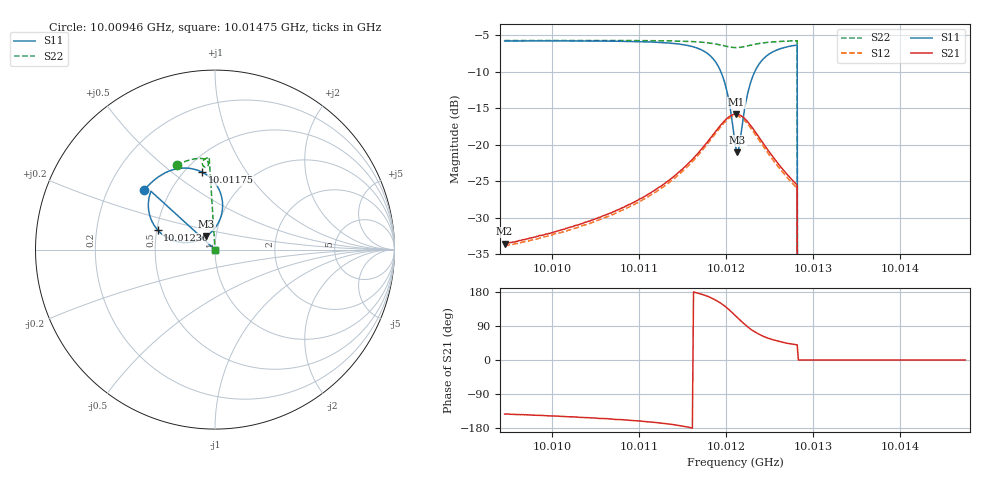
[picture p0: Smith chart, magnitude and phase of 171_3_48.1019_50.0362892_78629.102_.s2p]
#  HZ  S  RI  R  50.00
! Rohde & Schwarz Vector Network Analyzer
! Rohde-Schwarz,ZNB20-2Port,1311601062101988,3.16
! Created: UTC 12/23/2023, 3:51:46 AM
! freq[Hz]  re:S11  im:S11  re:S21  im:S21  re:S12  im:S12  re:S22  im:S22
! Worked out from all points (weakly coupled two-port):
!   401 points, 10.00946 GHz to 10.01475 GHz, reference 50 ohm
!   highest |S21| = -15.80 dB at 10.01212 GHz (marker M1); lowest = -33.6 dB at 10.00946 GHz (marker M2)
!   lowest |S11| = -21.0 dB at 10.01213 GHz (marker M3), VSWR 1.19, Z = 44.9 + j6.75 ohm
!   |S11| at or under -10 dB: 10.01194 GHz to 10.01233 GHz (388.5 kHz wide, 0.00388 % of centre); 10.01282 GHz to end of sweep
!   |S22| runs from - to -5.7 dB; largest |S21 - S12| = 0.0084
!   S11 on the Smith chart (normalised r, x): 10.00946 GHz: 0.36, +0.32; 10.01175 GHz: 0.60, +0.65; 10.01236 GHz: 0.50, +0.13; 10.01475 GHz: 1.00, +0.00
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1.0009459e10  -0.3932 0.3323  -0.0167 -0.0126  -0.0153 -0.0131  -0.2139 0.4715
1.0010345e10  -0.3384 0.3876  -0.0253 -0.0137  -0.0237 -0.0145  -0.1591 0.4937
1.0010835e10  -0.2937 0.419  -0.0347 -0.0141  -0.0328 -0.0152  -0.1261 0.5028
1.0011231e10  -0.2374 0.4439  -0.0495 -0.0125  -0.0469 -0.0144  -0.0968 0.5076
1.0011522e10  -0.1671 0.4544  -0.0697 -0.0056  -0.0669 -0.00917  -0.0724 0.5075
1.0011747e10  -0.0734 0.432  -0.0963 0.0141  -0.094 0.00858  -0.0509 0.5006
1.0011866e10  -0.00673 0.3801  -0.1127 0.0412  -0.1116 0.034  -0.0405 0.4908
1.0011959e10  0.0362 0.2966  -0.118 0.076  -0.1182 0.0691  -0.0363 0.4787
1.0012025e10  0.0395 0.2101  -0.1088 0.1086  -0.1109 0.1013  -0.0389 0.4687
1.0012104e10  -0.0155 0.1021  -0.076 0.143  -0.0797 0.1362  -0.0491 0.4609
1.0012118e10  -0.0309 0.0877  -0.0687 0.1469  -0.0724 0.1403  -0.0514 0.4605
1.0012131e10  -0.0484 0.0745  -0.0611 0.1497  -0.0652 0.1434  -0.0535 0.4602
1.0012157e10  -0.0858 0.0545  -0.0454 0.1533  -0.0491 0.1473  -0.058 0.4613
1.0012223e10  -0.1842 0.04  -0.0065 0.1494  -0.0109 0.1441  -0.0669 0.4674
1.0012263e10  -0.2361 0.0519  0.0123 0.1401  0.00689 0.1356  -0.0696 0.4731
1.0012356e10  -0.3199 0.1099  0.0382 0.1117  0.0334 0.1084  -0.0697 0.4865
1.0012514e10  -0.3684 0.2122  0.0493 0.071  0.0443 0.0696  -0.0588 0.5025
1.0012792e10  -0.3594 0.3185  0.0414 0.036  0.0379 0.0359  -0.0348 0.5149
1.0012858e10  0 0  0 0  0 0  0 0
1.0012991e10  0 0  0 0  0 0  0 0
1.0013877e10  0 0  0 0  0 0  0 0
1.001475e10  0 0  0 0  0 0  0 0
